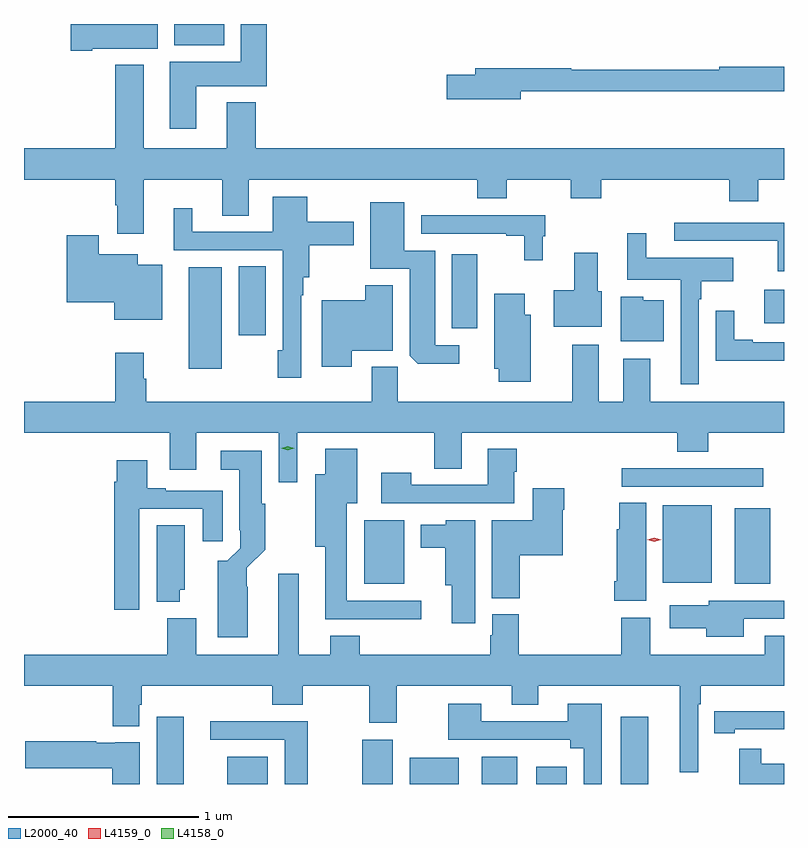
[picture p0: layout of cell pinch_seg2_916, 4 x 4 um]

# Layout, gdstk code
import gdstk
lib = gdstk.Library(unit=1e-6, precision=1e-09)
def R(c, l, rs):  # rectangles x0, y0, x1, y1
    for r in rs: c.add(gdstk.rectangle(r[:2], r[2:], *l))
def P(c, l, *ps):  # polygons
    for p in ps: c.add(gdstk.Polygon(p, *l))
L2000_40 = (2000, 40)
L4158_0 = (4158, 0)
L4159_0 = (4159, 0)

pinch_seg2_916 = lib.new_cell('pinch_seg2_916')
R(pinch_seg2_916, L2000_40, [(254.384,655.111,254.527,655.465), (254.756,655.111,254.968,655.255), (255.466,655.111,255.628,655.345), (255.716,655.111,255.973,655.249), (256.094,655.111,256.282,655.255), (256.382,655.111,256.543,655.201), (256.826,655.111,256.972,655.465), (255.476,656.165,255.688,656.5), (257.426,656.165,257.614,656.563), (257.048,656.171,257.305,656.578), (256.833,656.676,257.578,656.772), (254.552,657.296,254.728,657.832), (254.816,657.474,254.959,657.836), (255.938,657.51,256.072,657.898), (257.582,657.536,257.686,657.712), (254.477,659,254.74,659.111)])
P(pinch_seg2_916, L2000_40, [(254.044,658.982),(254.389,658.982),(254.389,659.111),(253.932,659.111),(253.932,658.97),(254.044,658.97)],
  [(254.593,658.784),(254.963,658.784),(254.963,659.111),(254.828,659.111),(254.828,658.912),(254.453,658.912),(254.453,658.56),(254.593,658.56)],
  [(254.317,658.292),(254.729,658.292),(254.729,658.102),(254.869,658.102),(254.869,658.292),(256.072,658.292),(256.072,658.193),(256.227,658.193),(256.227,658.292),(256.564,658.292),(256.564,658.193),(256.724,658.193),(256.724,658.292),(257.399,658.292),(257.399,658.178),(257.551,658.178),(257.551,658.292),(257.686,658.292),(257.686,658.456),(254.906,658.456),(254.906,658.699),(254.753,658.699),(254.753,658.456),(254.317,658.456),(254.317,658.897),(254.165,658.897),(254.165,658.456),(253.686,658.456),(253.686,658.292),(254.165,658.292),(254.165,658.158),(254.177,658.158),(254.177,658.008),(254.317,658.008)],
  [(256.3,658.758),(257.686,658.758),(257.686,658.886),(257.344,658.886),(257.344,658.871),(256.565,658.871),(256.565,658.879),(256.061,658.879),(256.061,658.845),(255.912,658.845),(255.912,658.715),(256.3,658.715)],
  [(255.144,657.683),(255.157,657.683),(255.157,657.779),(255.186,657.779),(255.186,657.947),(255.421,657.947),(255.421,658.069),(255.178,658.069),(255.178,658.201),(254.996,658.201),(254.996,658.017),(254.572,658.017),(254.572,658.141),(254.474,658.141),(254.474,657.921),(255.048,657.921),(255.048,657.393),(255.022,657.393),(255.022,657.249),(255.144,657.249)],
  [(255.976,657.42),(255.85,657.42),(255.85,657.918),(255.688,657.918),(255.688,658.174),(255.509,658.174),(255.509,657.822),(255.716,657.822),(255.716,657.364),(255.758,657.323),(255.976,657.323)],
  [(256.417,657.994),(256.429,657.994),(256.429,658.104),(255.777,658.104),(255.777,658.008),(256.223,658.008),(256.223,657.996),(256.318,657.996),(256.318,657.867),(256.417,657.867)],
  [(257.686,658.065),(257.109,658.065),(257.109,657.969),(257.653,657.969),(257.653,657.81),(257.686,657.81)],
  [(257.238,657.662),(257.251,657.662),(257.251,657.758),(257.419,657.758),(257.419,657.88),(256.96,657.88),(256.96,658.009),(256.862,658.009),(256.862,657.764),(257.142,657.764),(257.142,657.216),(257.238,657.216)],
  [(254.413,657.844),(254.284,657.844),(254.284,657.898),(254.08,657.898),(254.08,658),(253.91,658),(253.91,657.647),(254.162,657.647),(254.162,657.554),(254.413,657.554)],
  [(256.726,657.705),(256.705,657.705),(256.705,657.907),(256.583,657.907),(256.583,657.709),(256.475,657.709),(256.475,657.518),(256.726,657.518)],
  [(255.412,657.392),(255.628,657.392),(255.628,657.736),(255.481,657.736),(255.481,657.658),(255.254,657.658),(255.254,657.306),(255.412,657.306)],
  [(256.354,657.58),(256.321,657.58),(256.321,657.691),(256.16,657.691),(256.16,657.296),(256.184,657.296),(256.184,657.228),(256.354,657.228)],
  [(257.053,657.658),(256.944,657.658),(256.944,657.676),(256.826,657.676),(256.826,657.44),(257.053,657.44)],
  [(257.684,657.339),(257.686,657.339),(257.686,657.435),(257.521,657.435),(257.521,657.448),(257.425,657.448),(257.425,657.601),(257.328,657.601),(257.328,657.338),(257.684,657.338)],
  [(256.981,657.349),(256.841,657.349),(256.841,657.124),(256.711,657.124),(256.711,657.424),(256.571,657.424),(256.571,657.124),(255.653,657.124),(255.653,657.306),(255.515,657.306),(255.515,657.124),(254.33,657.124),(254.33,657.245),(254.317,657.245),(254.317,657.382),(254.165,657.382),(254.165,657.124),(253.686,657.124),(253.686,656.96),(254.453,656.96),(254.453,656.766),(254.593,656.766),(254.593,656.96),(255.027,656.96),(255.027,656.7),(255.123,656.7),(255.123,656.96),(255.844,656.96),(255.844,656.77),(255.991,656.77),(255.991,656.96),(257.123,656.96),(257.123,656.861),(257.288,656.861),(257.288,656.96),(257.686,656.96),(257.686,657.124),(256.981,657.124)],
  [(256.267,656.755),(256.279,656.755),(256.279,656.875),(256.127,656.875),(256.127,656.685),(255.723,656.685),(255.723,656.749),(255.567,656.749),(255.567,656.589),(256.267,656.589)],
  [(255.778,656.076),(255.385,656.076),(255.385,656.588),(255.439,656.588),(255.439,656.875),(255.272,656.875),(255.272,656.74),(255.218,656.74),(255.218,656.36),(255.272,656.36),(255.272,655.979),(255.778,655.979)],
  [(254.863,656.15),(254.859,656.15),(254.859,656.248),(254.956,656.345),(254.956,656.586),(254.938,656.586),(254.938,656.866),(254.721,656.866),(254.721,656.765),(254.819,656.765),(254.819,656.446),(254.823,656.446),(254.823,656.352),(254.757,656.286),(254.705,656.286),(254.705,655.883),(254.863,655.883)],
  [(254.293,656.559),(254.627,656.559),(254.627,656.388),(254.731,656.388),(254.731,656.655),(254.431,656.655),(254.431,656.668),(254.335,656.668),(254.335,656.815),(254.174,656.815),(254.174,656.702),(254.162,656.702),(254.162,656.028),(254.293,656.028)],
  [(256.295,656.315),(256.522,656.315),(256.522,656.555),(256.529,656.555),(256.529,656.668),(256.364,656.668),(256.364,656.5),(256.148,656.5),(256.148,656.089),(256.295,656.089)],
  [(256.96,656.591),(256.819,656.591),(256.819,656.451),(256.805,656.451),(256.805,656.179),(256.793,656.179),(256.793,656.075),(256.96,656.075)],
  [(256.06,656.5),(255.906,656.5),(255.906,656.476),(255.773,656.476),(255.773,656.354),(255.902,656.354),(255.902,656.156),(255.938,656.156),(255.938,655.956),(256.06,655.956)],
  [(254.506,656.133),(254.533,656.133),(254.533,656.474),(254.384,656.474),(254.384,656.069),(254.506,656.069)],
  [(257.235,655.532),(257.249,655.532),(257.249,655.628),(257.686,655.628),(257.686,655.891),(257.585,655.891),(257.585,655.792),(256.981,655.792),(256.981,655.987),(256.829,655.987),(256.829,655.792),(256.291,655.792),(256.291,656.004),(256.151,656.004),(256.151,655.893),(256.139,655.893),(256.139,655.792),(255.452,655.792),(255.452,655.891),(255.299,655.891),(255.299,655.792),(255.133,655.792),(255.133,656.218),(255.023,656.218),(255.023,655.792),(254.593,655.792),(254.593,655.984),(254.441,655.984),(254.441,655.792),(253.686,655.792),(253.686,655.628),(254.153,655.628),(254.153,655.415),(254.293,655.415),(254.293,655.527),(254.306,655.527),(254.306,655.628),(254.993,655.628),(254.993,655.529),(255.153,655.529),(255.153,655.628),(255.502,655.628),(255.502,655.434),(255.649,655.434),(255.649,655.628),(256.253,655.628),(256.253,655.529),(256.393,655.529),(256.393,655.628),(257.138,655.628),(257.138,655.173),(257.235,655.173)],
  [(257.473,655.98),(257.686,655.98),(257.686,656.076),(257.289,656.076),(257.289,656.053),(257.085,656.053),(257.085,655.931),(257.278,655.931),(257.278,655.886),(257.473,655.886)],
  [(256.728,655.534),(256.547,655.534),(256.547,655.44),(256.093,655.44),(256.093,655.534),(255.92,655.534),(255.92,655.344),(256.562,655.344),(256.562,655.298),(256.632,655.298),(256.632,655.111),(256.728,655.111)],
  [(257.428,655.398),(257.686,655.398),(257.686,655.495),(257.428,655.495),(257.428,655.494),(257.32,655.494),(257.32,655.378),(257.428,655.378)],
  [(255.18,655.442),(254.667,655.442),(254.667,655.344),(255.059,655.344),(255.059,655.111),(255.18,655.111)],
  [(254.296,655.33),(254.166,655.33),(254.166,655.327),(254.066,655.327),(254.066,655.335),(253.692,655.335),(253.692,655.193),(254.15,655.193),(254.15,655.111),(254.296,655.111)],
  [(257.686,655.218),(257.567,655.218),(257.567,655.297),(257.45,655.297),(257.45,655.111),(257.686,655.111)])
P(pinch_seg2_916, L4158_0, [(255.074,656.868),(255.04,656.878),(255.04,656.878),(255.04,656.878),(255.074,656.888),(255.108,656.878),(255.109,656.877),(255.108,656.877)])
P(pinch_seg2_916, L4159_0, [(257.003,656.387),(256.965,656.397),(256.965,656.397),(256.965,656.397),(257.003,656.407),(257.041,656.397),(257.041,656.397),(257.041,656.396)])

lib.write_gds('pinch_seg2_916.gds')
